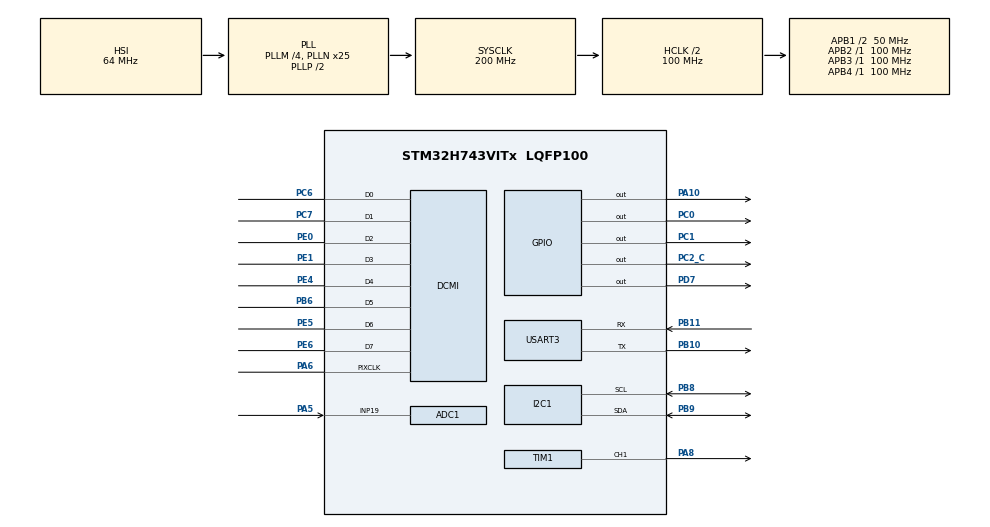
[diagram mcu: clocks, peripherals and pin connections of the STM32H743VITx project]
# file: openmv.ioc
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ADC1.Channel-5\#ChannelRegularConversion=ADC_CHANNEL_19
ADC1.NbrOfConversionFlag=1
ADC1.OffsetNumber-5\#ChannelRegularConversion=ADC_OFFSET_NONE
ADC1.OffsetSignedSaturation-5\#ChannelRegularConversion=DISABLE
ADC1.Rank-5\#ChannelRegularConversion=1
ADC1.SamplingTime-5\#ChannelRegularConversion=ADC_SAMPLETIME_1CYCLE_5
ADC1.master=1
ADC3.Channel-0\#ChannelRegularConversion=ADC_CHANNEL_VREFINT
ADC3.NbrOfConversionFlag=1
ADC3.OffsetNumber-0\#ChannelRegularConversion=ADC_OFFSET_NONE
ADC3.OffsetSignedSaturation-0\#ChannelRegularConversion=DISABLE
ADC3.Rank-0\#ChannelRegularConversion=1
ADC3.SamplingTime-0\#ChannelRegularConversion=ADC_SAMPLETIME_1CYCLE_5
DCMI.JPEGMode=DCMI_JPEG_DISABLE
Dma.DCMI.0.Direction=DMA_PERIPH_TO_MEMORY
Dma.DCMI.0.EventEnable=DISABLE
Dma.DCMI.0.FIFOMode=DMA_FIFOMODE_DISABLE
Dma.DCMI.0.Instance=DMA2_Stream1
Dma.DCMI.0.MemDataAlignment=DMA_MDATAALIGN_WORD
Dma.DCMI.0.MemInc=DMA_MINC_ENABLE
Dma.DCMI.0.Mode=DMA_NORMAL
Dma.DCMI.0.PeriphDataAlignment=DMA_PDATAALIGN_WORD
Dma.DCMI.0.PeriphInc=DMA_PINC_DISABLE
Dma.DCMI.0.Polarity=HAL_DMAMUX_REQ_GEN_RISING
Dma.DCMI.0.Priority=DMA_PRIORITY_LOW
Dma.DCMI.0.RequestNumber=1
Dma.DCMI.0.SignalID=NONE
Dma.DCMI.0.SyncEnable=DISABLE
Dma.DCMI.0.SyncPolarity=HAL_DMAMUX_SYNC_NO_EVENT
Dma.DCMI.0.SyncRequestNumber=1
Dma.DCMI.0.SyncSignalID=NONE
Dma.Request0=DCMI
I2C1.Timing=0x00C0EAFF
Mcu.Family=STM32H7
Mcu.Name=STM32H743VITx
Mcu.Package=LQFP100
NVIC.DMA2_Stream1_IRQn=true\:0\:0\:false\:false\:true\:false\:true\:true
NVIC.I2C1_ER_IRQn=true\:0\:0\:false\:false\:true\:true\:true\:true
NVIC.I2C1_EV_IRQn=true\:0\:0\:false\:false\:true\:true\:true\:true
NVIC.PriorityGroup=NVIC_PRIORITYGROUP_4
NVIC.RTC_WKUP_IRQn=true\:0\:0\:false\:false\:true\:true\:true\:true
NVIC.TIM3_IRQn=true\:0\:0\:false\:false\:true\:true\:true\:true
PA10.PinState=GPIO_PIN_SET
PA10.Signal=GPIO_Output
PA4.Signal=DCMI_HSYNC
PA5.Signal=ADCx_INP19
PA6.Mode=Slave_8_bits_Embedded_Synchro
PA6.Signal=DCMI_PIXCLK
PA8.Signal=S_TIM1_CH1
PB10.Mode=Asynchronous
PB10.Signal=USART3_TX
PB11.Mode=Asynchronous
PB11.Signal=USART3_RX
PB6.Mode=Slave_8_bits_Embedded_Synchro
PB6.Signal=DCMI_D5
PB7.Signal=DCMI_VSYNC
PB8.GPIO_Pu=GPIO_PULLUP
PB8.Mode=I2C
PB8.Signal=I2C1_SCL
PB9.GPIO_Pu=GPIO_PULLUP
PB9.Mode=I2C
PB9.Signal=I2C1_SDA
PC0.PinState=GPIO_PIN_SET
PC0.Signal=GPIO_Output
PC1.PinState=GPIO_PIN_SET
PC1.Signal=GPIO_Output
PC2_C.PinState=GPIO_PIN_SET
PC2_C.Signal=GPIO_Output
PC6.Mode=Slave_8_bits_Embedded_Synchro
PC6.Signal=DCMI_D0
PC7.Mode=Slave_8_bits_Embedded_Synchro
PC7.Signal=DCMI_D1
PD7.PinState=GPIO_PIN_SET
PD7.Signal=GPIO_Output
PE0.Mode=Slave_8_bits_Embedded_Synchro
PE0.Signal=DCMI_D2
PE1.Mode=Slave_8_bits_Embedded_Synchro
PE1.Signal=DCMI_D3
PE4.Mode=Slave_8_bits_Embedded_Synchro
PE4.Signal=DCMI_D4
PE5.Mode=Slave_8_bits_Embedded_Synchro
PE5.Signal=DCMI_D6
PE6.Mode=Slave_8_bits_Embedded_Synchro
PE6.Signal=DCMI_D7
ProjectManager.HeapSize=0x200
ProjectManager.StackSize=0x400
ProjectManager.TargetToolchain=STM32CubeIDE
RCC.ADCFreq_Value=37500000
RCC.APB1Freq_Value=50000000
RCC.APB2Freq_Value=100000000
RCC.APB3Freq_Value=100000000
RCC.APB4Freq_Value=100000000
RCC.CortexFreq_Value=200000000
RCC.D2PPRE1=RCC_APB1_DIV2
RCC.DIVM1=4
RCC.DIVM2=4
RCC.DIVN1=25
RCC.DIVN2=9
RCC.DIVP2=4
RCC.HCLKFreq_Value=100000000
RCC.HPRE=RCC_HCLK_DIV2
RCC.PLL2FRACN=3072
RCC.PLLFRACN=0
RCC.SYSCLKFreq_VALUE=200000000
RCC.SYSCLKSource=RCC_SYSCLKSOURCE_PLLCLK
RCC.USBFreq_Value=200000000
RTC.WakeUpCounter-WakeUp=3276
SH.ADCx_INP19.0=ADC1_INP19,IN19-Single-Ended
SH.S_TIM1_CH1.0=TIM1_CH1,PWM Generation1 CH1
TIM1.Channel-PWM\ Generation1\ CH1=TIM_CHANNEL_1
TIM1.Period=5
TIM1.Pulse-PWM\ Generation1\ CH1=2
TIM3.Period=10000
USART3.VirtualMode-Asynchronous=VM_ASYNC
VP_ADC3_Vref_Input.Mode=IN-Vrefint
VP_FATFS_VS_Generic.Mode=User_defined
VP_RTC_VS_RTC_Activate.Mode=RTC_Enabled
VP_RTC_VS_RTC_WakeUp_intern.Mode=WakeUp
VP_TIM1_VS_ClockSourceINT.Mode=Internal
VP_TIM3_VS_ClockSourceINT.Mode=Internal
board=custom

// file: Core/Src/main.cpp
/* USER CODE BEGIN Header */
/**
  ******************************************************************************
  * @file           : main.c
  * @brief          : Main program body
  ******************************************************************************
  * @attention
  *
  * Copyright (c) 2023 STMicroelectronics.
  * All rights reserved.
  *
  * This software is licensed under terms that can be found in the LICENSE file
  * in the root directory of this software component.
  * If no LICENSE file comes with this software, it is provided AS-IS.
  *
  ******************************************************************************
  */
/* USER CODE END Header */
#include "main.h"
#include "fatfs.h"

/* USER CODE BEGIN Includes */
#include "stdio.h"
#include "tensorflow/lite/micro/kernels/all_ops_resolver.h"
#include "tensorflow/lite/micro/micro_error_reporter.h"
#include "tensorflow/lite/micro/micro_interpreter.h"
#include "tensorflow/lite/schema/schema_generated.h"
#include "tensorflow/lite/version.h"
#include "./TF/main_functions1.h"
#include "./TF/main_functions2.h"
// pre-build steps: arm-none-eabi-gcc -P -E ../STM32H743VITX_FLASH.c -o ../GENERATED.ld
// link script: ${workspace_loc:/${ProjName}/GENERATED.ld}
/* USER CODE END Includes */

/* USER CODE BEGIN PD */
//#define VREFINT_CAL_ADDR 0x1FF1E860
#define ADDR_VREFINT_CAL ((uint16_t*) VREFINT_CAL_ADDR)
/* USER CODE END PD */

ADC_HandleTypeDef hadc1;
ADC_HandleTypeDef hadc3;

DCMI_HandleTypeDef hdcmi;
DMA_HandleTypeDef hdma_dcmi;

I2C_HandleTypeDef hi2c1;

RTC_HandleTypeDef hrtc;

TIM_HandleTypeDef htim1;
TIM_HandleTypeDef htim3;

UART_HandleTypeDef huart3;

/* USER CODE BEGIN PV */
__IO uint16_t uhADCxConvertedValue = 0;
uint16_t ADC_max_binary = ((1<<16)-1);
float ADC_ref_voltage = 3.3;
float ADC_sys_voltage = 0.0;
RTC_HandleTypeDef RTCHandle;
/* USER CODE END PV */

void SystemClock_Config(void);
void PeriphCommonClock_Config(void);
static void MX_GPIO_Init(void);
static void MX_DMA_Init(void);
static void MX_TIM3_Init(void);
static void MX_RTC_Init(void);
static void MX_ADC3_Init(void);
static void MX_DCMI_Init(void);
static void MX_I2C1_Init(void);
static void MX_ADC1_Init(void);
static void MX_USART3_UART_Init(void);
static void MX_TIM1_Init(void);
/* USER CODE BEGIN PFP */
void stop_mode1(void);
void stop_mode2(void);

#ifdef __cplusplus
extern "C" {
#endif
extern int sensor_init(void);
#ifdef __cplusplus
}
#endif
/* USER CODE END PFP */

/* USER CODE BEGIN 0 */
/**
  * @brief  CPU L1-Cache enable.
  * @param  None
  * @retval None
  */
static void CPU_CACHE_Enable(void)
{
  /* Enable I-Cache */
  SCB_EnableICache();

  /* Enable D-Cache */
  SCB_EnableDCache();
}
/* USER CODE END 0 */

int main(void)
{
  /* USER CODE BEGIN 1 */

  /* Enable the CPU Cache */
  CPU_CACHE_Enable();
  /* USER CODE END 1 */

  /* MCU Configuration--------------------------------------------------------*/

  /* Reset of all peripherals, Initializes the Flash interface and the Systick. */
  HAL_Init();

  /* Configure the system clock */
  SystemClock_Config();

  /* Configure the peripherals common clocks */
  PeriphCommonClock_Config();

  /* Initialize all configured peripherals */
  MX_GPIO_Init();
  MX_DMA_Init();
  MX_TIM3_Init();
  MX_RTC_Init();
  MX_ADC3_Init();
  MX_DCMI_Init();
  MX_I2C1_Init();
  MX_ADC1_Init();
  MX_USART3_UART_Init();
  MX_FATFS_Init();
  MX_TIM1_Init();
  /* USER CODE BEGIN 2 */
//  stop_mode1();
//  stop_mode2();

//  printf("start OV init\r\n");
//  fb_alloc_init0();
//  framebuffer_init0();
//  sensor_init0();
//  dma_alloc_init0();

//  int ret = sensor_init();
//  printf("finished OV init, return=%d\r\n", ret);

  float target_voltage = 3.9;
  float sys_vol;
  stop_mode2_duration(200);
  sys_vol = adc_ref_internal_read();
  stop_mode2_duration(200);
  sys_vol = adc_ref_internal_read();
  if (sys_vol < target_voltage)
  {
	printf("System start FAILED, voltage=%.2f, target=%.2f, going to deep sleep\r\n", sys_vol, target_voltage);
	// will restart after this sleep
	stop_mode1_duration(60000);
  }

  // NN
  setup1();

  /* USER CODE END 2 */

  /* Infinite loop */
  /* USER CODE BEGIN WHILE */
  uint32_t  start1;
  uint32_t  stop1;
  uint32_t  delta1;

  int sample_idx = 3;
  while (1)
  {
//  start = DWT->CYCCNT;
	start1 = HAL_GetTick();
// Code to measure
//	main_loop1();
//  main_loop2();

	sample_idx = 2;
	main_single_event(sample_idx, 0.0);
//	sample_idx += 1;
//	sample_idx %= 4;
//	if (sample_idx == 0)
//	{
//		sample_idx = 3;
//	}

//  stop = DWT->CYCCNT;
	stop1 = HAL_GetTick();
//	delta = stop - start;
	delta1 = stop1 - start1;
//	d_ms = delta / (SYSCLK / 1000);

//	fprintf(stderr, "start: %ld, end: %ld, delta: %ld, d_ms: %ld, delta1 %ld (ms)\r\n", start, stop, delta, d_ms, delta1);
//	fprintf(stderr, "delta1 %ld (ms)\r\n", delta1);
	fprintf(stderr, "\r\n");

//	HAL_Delay(10000);
//	stop_mode1();
	stop_mode2();
    /* USER CODE END WHILE */

  }
}

void SystemClock_Config(void)
{
  RCC_OscInitTypeDef RCC_OscInitStruct = {0};
  RCC_ClkInitTypeDef RCC_ClkInitStruct = {0};

  /** Supply configuration update enable
  */
  HAL_PWREx_ConfigSupply(PWR_LDO_SUPPLY);

  /** Configure the main internal regulator output voltage
  */
  __HAL_PWR_VOLTAGESCALING_CONFIG(PWR_REGULATOR_VOLTAGE_SCALE3);

  while(!__HAL_PWR_GET_FLAG(PWR_FLAG_VOSRDY)) {}

  /** Macro to configure the PLL clock source
  */
  __HAL_RCC_PLL_PLLSOURCE_CONFIG(RCC_PLLSOURCE_HSI);

  /** Initializes the RCC Oscillators according to the specified parameters
  * in the RCC_OscInitTypeDef structure.
  */
  RCC_OscInitStruct.OscillatorType = RCC_OSCILLATORTYPE_HSI|RCC_OSCILLATORTYPE_LSI;
  RCC_OscInitStruct.HSIState = RCC_HSI_DIV1;
  RCC_OscInitStruct.HSICalibrationValue = RCC_HSICALIBRATION_DEFAULT;
  RCC_OscInitStruct.LSIState = RCC_LSI_ON;
  RCC_OscInitStruct.PLL.PLLState = RCC_PLL_ON;
  RCC_OscInitStruct.PLL.PLLSource = RCC_PLLSOURCE_HSI;
  RCC_OscInitStruct.PLL.PLLM = 4;
  RCC_OscInitStruct.PLL.PLLN = 25;
  RCC_OscInitStruct.PLL.PLLP = 2;
  RCC_OscInitStruct.PLL.PLLQ = 2;
  RCC_OscInitStruct.PLL.PLLR = 2;
  RCC_OscInitStruct.PLL.PLLRGE = RCC_PLL1VCIRANGE_3;
  RCC_OscInitStruct.PLL.PLLVCOSEL = RCC_PLL1VCOWIDE;
  RCC_OscInitStruct.PLL.PLLFRACN = 0;
  if (HAL_RCC_OscConfig(&RCC_OscInitStruct) != HAL_OK)
  {
    Error_Handler();
  }

  /** Initializes the CPU, AHB and APB buses clocks
  */
  RCC_ClkInitStruct.ClockType = RCC_CLOCKTYPE_HCLK|RCC_CLOCKTYPE_SYSCLK
                              |RCC_CLOCKTYPE_PCLK1|RCC_CLOCKTYPE_PCLK2
                              |RCC_CLOCKTYPE_D3PCLK1|RCC_CLOCKTYPE_D1PCLK1;
  RCC_ClkInitStruct.SYSCLKSource = RCC_SYSCLKSOURCE_PLLCLK;
  RCC_ClkInitStruct.SYSCLKDivider = RCC_SYSCLK_DIV1;
  RCC_ClkInitStruct.AHBCLKDivider = RCC_HCLK_DIV2;
  RCC_ClkInitStruct.APB3CLKDivider = RCC_APB3_DIV1;
  RCC_ClkInitStruct.APB1CLKDivider = RCC_APB1_DIV2;
  RCC_ClkInitStruct.APB2CLKDivider = RCC_APB2_DIV1;
  RCC_ClkInitStruct.APB4CLKDivider = RCC_APB4_DIV1;

  if (HAL_RCC_ClockConfig(&RCC_ClkInitStruct, FLASH_LATENCY_2) != HAL_OK)
  {
    Error_Handler();
  }
}

void PeriphCommonClock_Config(void)
{
  RCC_PeriphCLKInitTypeDef PeriphClkInitStruct = {0};

  /** Initializes the peripherals clock
  */
  PeriphClkInitStruct.PeriphClockSelection = RCC_PERIPHCLK_ADC;
  PeriphClkInitStruct.PLL2.PLL2M = 4;
  PeriphClkInitStruct.PLL2.PLL2N = 9;
  PeriphClkInitStruct.PLL2.PLL2P = 4;
  PeriphClkInitStruct.PLL2.PLL2Q = 2;
  PeriphClkInitStruct.PLL2.PLL2R = 2;
  PeriphClkInitStruct.PLL2.PLL2RGE = RCC_PLL2VCIRANGE_3;
  PeriphClkInitStruct.PLL2.PLL2VCOSEL = RCC_PLL2VCOMEDIUM;
  PeriphClkInitStruct.PLL2.PLL2FRACN = 3072;
  PeriphClkInitStruct.AdcClockSelection = RCC_ADCCLKSOURCE_PLL2;
  if (HAL_RCCEx_PeriphCLKConfig(&PeriphClkInitStruct) != HAL_OK)
  {
    Error_Handler();
  }
}

static void MX_ADC1_Init(void)
{

  ADC_MultiModeTypeDef multimode = {0};
  ADC_ChannelConfTypeDef sConfig = {0};

  /** Common config
  */
  hadc1.Instance = ADC1;
  hadc1.Init.ClockPrescaler = ADC_CLOCK_ASYNC_DIV1;
  hadc1.Init.Resolution = ADC_RESOLUTION_16B;
  hadc1.Init.ScanConvMode = ADC_SCAN_DISABLE;
  hadc1.Init.EOCSelection = ADC_EOC_SINGLE_CONV;
  hadc1.Init.LowPowerAutoWait = DISABLE;
  hadc1.Init.ContinuousConvMode = DISABLE;
  hadc1.Init.NbrOfConversion = 1;
  hadc1.Init.DiscontinuousConvMode = DISABLE;
  hadc1.Init.ExternalTrigConv = ADC_SOFTWARE_START;
  hadc1.Init.ExternalTrigConvEdge = ADC_EXTERNALTRIGCONVEDGE_NONE;
  hadc1.Init.ConversionDataManagement = ADC_CONVERSIONDATA_DR;
  hadc1.Init.Overrun = ADC_OVR_DATA_PRESERVED;
  hadc1.Init.LeftBitShift = ADC_LEFTBITSHIFT_NONE;
  hadc1.Init.OversamplingMode = DISABLE;
  if (HAL_ADC_Init(&hadc1) != HAL_OK)
  {
    Error_Handler();
  }

  /** Configure the ADC multi-mode
  */
  multimode.Mode = ADC_MODE_INDEPENDENT;
  if (HAL_ADCEx_MultiModeConfigChannel(&hadc1, &multimode) != HAL_OK)
  {
    Error_Handler();
  }

  /** Configure Regular Channel
  */
  sConfig.Channel = ADC_CHANNEL_19;
  sConfig.Rank = ADC_REGULAR_RANK_1;
  sConfig.SamplingTime = ADC_SAMPLETIME_1CYCLE_5;
  sConfig.SingleDiff = ADC_SINGLE_ENDED;
  sConfig.OffsetNumber = ADC_OFFSET_NONE;
  sConfig.Offset = 0;
  sConfig.OffsetSignedSaturation = DISABLE;
  if (HAL_ADC_ConfigChannel(&hadc1, &sConfig) != HAL_OK)
  {
    Error_Handler();
  }
  /* USER CODE BEGIN ADC1_Init 2 */
  /* Run the ADC calibration in single-ended mode */
  if (HAL_ADCEx_Calibration_Start(&hadc1, ADC_CALIB_OFFSET_LINEARITY, ADC_SINGLE_ENDED) != HAL_OK)
  {
    /* Calibration Error */
    Error_Handler();
  }

//  while (1)
//  {
//	  adc_read();
//  }
  /* USER CODE END ADC1_Init 2 */

}

static void MX_ADC3_Init(void)
{

  ADC_ChannelConfTypeDef sConfig = {0};

  /** Common config
  */
  hadc3.Instance = ADC3;
  hadc3.Init.Resolution = ADC_RESOLUTION_16B;
  hadc3.Init.ScanConvMode = ADC_SCAN_DISABLE;
  hadc3.Init.EOCSelection = ADC_EOC_SINGLE_CONV;
  hadc3.Init.LowPowerAutoWait = DISABLE;
  hadc3.Init.ContinuousConvMode = DISABLE;
  hadc3.Init.NbrOfConversion = 1;
  hadc3.Init.DiscontinuousConvMode = DISABLE;
  hadc3.Init.ExternalTrigConv = ADC_SOFTWARE_START;
  hadc3.Init.ExternalTrigConvEdge = ADC_EXTERNALTRIGCONVEDGE_NONE;
  hadc3.Init.ConversionDataManagement = ADC_CONVERSIONDATA_DR;
  hadc3.Init.Overrun = ADC_OVR_DATA_PRESERVED;
  hadc3.Init.LeftBitShift = ADC_LEFTBITSHIFT_NONE;
  hadc3.Init.OversamplingMode = DISABLE;
  if (HAL_ADC_Init(&hadc3) != HAL_OK)
  {
    Error_Handler();
  }

  /** Configure Regular Channel
  */
  sConfig.Channel = ADC_CHANNEL_VREFINT;
  sConfig.Rank = ADC_REGULAR_RANK_1;
  sConfig.SamplingTime = ADC_SAMPLETIME_1CYCLE_5;
  sConfig.SingleDiff = ADC_SINGLE_ENDED;
  sConfig.OffsetNumber = ADC_OFFSET_NONE;
  sConfig.Offset = 0;
  sConfig.OffsetSignedSaturation = DISABLE;
  if (HAL_ADC_ConfigChannel(&hadc3, &sConfig) != HAL_OK)
  {
    Error_Handler();
  }
  /* USER CODE BEGIN ADC3_Init 2 */
  /* ### - 4 - Start conversion ############################################# */
  if (HAL_ADC_Start(&hadc3) != HAL_OK)
  {
    Error_Handler();
  }

  /* Infinite Loop */

  /* USER CODE END ADC3_Init 2 */

}

static void MX_DCMI_Init(void)
{

  hdcmi.Instance = DCMI;
  hdcmi.Init.SynchroMode = DCMI_SYNCHRO_EMBEDDED;
  hdcmi.Init.PCKPolarity = DCMI_PCKPOLARITY_FALLING;
  hdcmi.Init.CaptureRate = DCMI_CR_ALL_FRAME;
  hdcmi.Init.ExtendedDataMode = DCMI_EXTEND_DATA_8B;
  hdcmi.Init.SyncroCode.FrameEndCode = 0;
  hdcmi.Init.SyncroCode.FrameStartCode = 0;
  hdcmi.Init.SyncroCode.LineStartCode = 0;
  hdcmi.Init.SyncroCode.LineEndCode = 0;
  hdcmi.Init.JPEGMode = DCMI_JPEG_DISABLE;
  hdcmi.Init.ByteSelectMode = DCMI_BSM_ALL;
  hdcmi.Init.ByteSelectStart = DCMI_OEBS_ODD;
  hdcmi.Init.LineSelectMode = DCMI_LSM_ALL;
  hdcmi.Init.LineSelectStart = DCMI_OELS_ODD;
  if (HAL_DCMI_Init(&hdcmi) != HAL_OK)
  {
    Error_Handler();
  }

}

static void MX_I2C1_Init(void)
{

  hi2c1.Instance = I2C1;
  hi2c1.Init.Timing = 0x00C0EAFF;
  hi2c1.Init.OwnAddress1 = 0;
  hi2c1.Init.AddressingMode = I2C_ADDRESSINGMODE_7BIT;
  hi2c1.Init.DualAddressMode = I2C_DUALADDRESS_DISABLE;
  hi2c1.Init.OwnAddress2 = 0;
  hi2c1.Init.OwnAddress2Masks = I2C_OA2_NOMASK;
  hi2c1.Init.GeneralCallMode = I2C_GENERALCALL_DISABLE;
  hi2c1.Init.NoStretchMode = I2C_NOSTRETCH_DISABLE;
  if (HAL_I2C_Init(&hi2c1) != HAL_OK)
  {
    Error_Handler();
  }

  /** Configure Analogue filter
  */
  if (HAL_I2CEx_ConfigAnalogFilter(&hi2c1, I2C_ANALOGFILTER_ENABLE) != HAL_OK)
  {
    Error_Handler();
  }

  /** Configure Digital filter
  */
  if (HAL_I2CEx_ConfigDigitalFilter(&hi2c1, 0) != HAL_OK)
  {
    Error_Handler();
  }

}

static void MX_RTC_Init(void)
{

  /** Initialize RTC Only
  */
  hrtc.Instance = RTC;
  hrtc.Init.HourFormat = RTC_HOURFORMAT_24;
  hrtc.Init.AsynchPrediv = 127;
  hrtc.Init.SynchPrediv = 255;
  hrtc.Init.OutPut = RTC_OUTPUT_DISABLE;
  hrtc.Init.OutPutPolarity = RTC_OUTPUT_POLARITY_HIGH;
  hrtc.Init.OutPutType = RTC_OUTPUT_TYPE_OPENDRAIN;
  hrtc.Init.OutPutRemap = RTC_OUTPUT_REMAP_NONE;
  if (HAL_RTC_Init(&hrtc) != HAL_OK)
  {
    Error_Handler();
  }

  /** Enable the WakeUp
  */
  if (HAL_RTCEx_SetWakeUpTimer_IT(&hrtc, 3276, RTC_WAKEUPCLOCK_RTCCLK_DIV16) != HAL_OK)
  {
    Error_Handler();
  }

}

static void MX_TIM1_Init(void)
{

  TIM_ClockConfigTypeDef sClockSourceConfig = {0};
  TIM_MasterConfigTypeDef sMasterConfig = {0};
  TIM_OC_InitTypeDef sConfigOC = {0};
  TIM_BreakDeadTimeConfigTypeDef sBreakDeadTimeConfig = {0};

  htim1.Instance = TIM1;
  htim1.Init.Prescaler = 0;
  htim1.Init.CounterMode = TIM_COUNTERMODE_UP;
  htim1.Init.Period = 5;
  htim1.Init.ClockDivision = TIM_CLOCKDIVISION_DIV1;
  htim1.Init.RepetitionCounter = 0;
  htim1.Init.AutoReloadPreload = TIM_AUTORELOAD_PRELOAD_DISABLE;
  if (HAL_TIM_Base_Init(&htim1) != HAL_OK)
  {
    Error_Handler();
  }
  sClockSourceConfig.ClockSource = TIM_CLOCKSOURCE_INTERNAL;
  if (HAL_TIM_ConfigClockSource(&htim1, &sClockSourceConfig) != HAL_OK)
  {
    Error_Handler();
  }
  if (HAL_TIM_PWM_Init(&htim1) != HAL_OK)
  {
    Error_Handler();
  }
  sMasterConfig.MasterOutputTrigger = TIM_TRGO_RESET;
  sMasterConfig.MasterOutputTrigger2 = TIM_TRGO2_RESET;
  sMasterConfig.MasterSlaveMode = TIM_MASTERSLAVEMODE_DISABLE;
  if (HAL_TIMEx_MasterConfigSynchronization(&htim1, &sMasterConfig) != HAL_OK)
  {
    Error_Handler();
  }
  sConfigOC.OCMode = TIM_OCMODE_PWM1;
  sConfigOC.Pulse = 2;
  sConfigOC.OCPolarity = TIM_OCPOLARITY_HIGH;
  sConfigOC.OCNPolarity = TIM_OCNPOLARITY_HIGH;
  sConfigOC.OCFastMode = TIM_OCFAST_DISABLE;
  sConfigOC.OCIdleState = TIM_OCIDLESTATE_RESET;
  sConfigOC.OCNIdleState = TIM_OCNIDLESTATE_RESET;
  if (HAL_TIM_PWM_ConfigChannel(&htim1, &sConfigOC, TIM_CHANNEL_1) != HAL_OK)
  {
    Error_Handler();
  }
  sBreakDeadTimeConfig.OffStateRunMode = TIM_OSSR_DISABLE;
  sBreakDeadTimeConfig.OffStateIDLEMode = TIM_OSSI_DISABLE;
  sBreakDeadTimeConfig.LockLevel = TIM_LOCKLEVEL_OFF;
  sBreakDeadTimeConfig.DeadTime = 0;
  sBreakDeadTimeConfig.BreakState = TIM_BREAK_DISABLE;
  sBreakDeadTimeConfig.BreakPolarity = TIM_BREAKPOLARITY_HIGH;
  sBreakDeadTimeConfig.BreakFilter = 0;
  sBreakDeadTimeConfig.Break2State = TIM_BREAK2_DISABLE;
  sBreakDeadTimeConfig.Break2Polarity = TIM_BREAK2POLARITY_HIGH;
  sBreakDeadTimeConfig.Break2Filter = 0;
  sBreakDeadTimeConfig.AutomaticOutput = TIM_AUTOMATICOUTPUT_DISABLE;
  if (HAL_TIMEx_ConfigBreakDeadTime(&htim1, &sBreakDeadTimeConfig) != HAL_OK)
  {
    Error_Handler();
  }
  HAL_TIM_MspPostInit(&htim1);

}

static void MX_TIM3_Init(void)
{

  TIM_ClockConfigTypeDef sClockSourceConfig = {0};
  TIM_MasterConfigTypeDef sMasterConfig = {0};

  htim3.Instance = TIM3;
  htim3.Init.Prescaler = 0;
  htim3.Init.CounterMode = TIM_COUNTERMODE_UP;
  htim3.Init.Period = 10000;
  htim3.Init.ClockDivision = TIM_CLOCKDIVISION_DIV1;
  htim3.Init.AutoReloadPreload = TIM_AUTORELOAD_PRELOAD_DISABLE;
  if (HAL_TIM_Base_Init(&htim3) != HAL_OK)
  {
    Error_Handler();
  }
  sClockSourceConfig.ClockSource = TIM_CLOCKSOURCE_INTERNAL;
  if (HAL_TIM_ConfigClockSource(&htim3, &sClockSourceConfig) != HAL_OK)
  {
    Error_Handler();
  }
  sMasterConfig.MasterOutputTrigger = TIM_TRGO_RESET;
  sMasterConfig.MasterSlaveMode = TIM_MASTERSLAVEMODE_DISABLE;
  if (HAL_TIMEx_MasterConfigSynchronization(&htim3, &sMasterConfig) != HAL_OK)
  {
    Error_Handler();
  }

}

static void MX_USART3_UART_Init(void)
{

  huart3.Instance = USART3;
  huart3.Init.BaudRate = 115200;
  huart3.Init.WordLength = UART_WORDLENGTH_8B;
  huart3.Init.StopBits = UART_STOPBITS_1;
  huart3.Init.Parity = UART_PARITY_NONE;
  huart3.Init.Mode = UART_MODE_TX_RX;
  huart3.Init.HwFlowCtl = UART_HWCONTROL_NONE;
  huart3.Init.OverSampling = UART_OVERSAMPLING_16;
  huart3.Init.OneBitSampling = UART_ONE_BIT_SAMPLE_DISABLE;
  huart3.Init.ClockPrescaler = UART_PRESCALER_DIV1;
  huart3.AdvancedInit.AdvFeatureInit = UART_ADVFEATURE_NO_INIT;
  if (HAL_UART_Init(&huart3) != HAL_OK)
  {
    Error_Handler();
  }
  if (HAL_UARTEx_SetTxFifoThreshold(&huart3, UART_TXFIFO_THRESHOLD_1_8) != HAL_OK)
  {
    Error_Handler();
  }
  if (HAL_UARTEx_SetRxFifoThreshold(&huart3, UART_RXFIFO_THRESHOLD_1_8) != HAL_OK)
  {
    Error_Handler();
  }
  if (HAL_UARTEx_DisableFifoMode(&huart3) != HAL_OK)
  {
    Error_Handler();
  }
  /* USER CODE BEGIN USART3_Init 2 */
  /*##-2- Start the transmission process #####################################*/
  /* While the UART in reception process, user can transmit data through
     "aTxBuffer" buffer */
  /* Buffer used for transmission */
  uint8_t aTxBuffer[] = "**** UART_TwoBoards_ComPolling ****\r\n";

  /* Buffer used for reception */
//  uint8_t aRxBuffer[RXBUFFERSIZE];
//  while (1)
  {
//	  if(HAL_UART_Transmit(&huart3, (uint8_t*)aTxBuffer, sizeof(aTxBuffer), 5000)!= HAL_OK)
//	  {
//	    Error_Handler();
//	  }
//	  printf("123 %f\r\n", 4.56);
	  printf("USART init\r\n");
//	  HAL_Delay(1000);
  }

  /*##-3- Put UART peripheral in reception process ###########################*/
//  if(HAL_UART_Receive(&huart3, (uint8_t *)aRxBuffer, RXBUFFERSIZE, 5000) != HAL_OK)
//  {
//    Error_Handler();
//  }
  /* USER CODE END USART3_Init 2 */

}

static void MX_DMA_Init(void)
{

  /* DMA controller clock enable */
  __HAL_RCC_DMA2_CLK_ENABLE();

  /* DMA interrupt init */
  /* DMA2_Stream1_IRQn interrupt configuration */
  HAL_NVIC_SetPriority(DMA2_Stream1_IRQn, 0, 0);
  HAL_NVIC_EnableIRQ(DMA2_Stream1_IRQn);

}

static void MX_GPIO_Init(void)
{
  GPIO_InitTypeDef GPIO_InitStruct = {0};

  /* GPIO Ports Clock Enable */
  __HAL_RCC_GPIOE_CLK_ENABLE();
  __HAL_RCC_GPIOC_CLK_ENABLE();
  __HAL_RCC_GPIOA_CLK_ENABLE();
  __HAL_RCC_GPIOB_CLK_ENABLE();
  __HAL_RCC_GPIOD_CLK_ENABLE();

  /*Configure GPIO pin Output Level */
  HAL_GPIO_WritePin(GPIOC, GPIO_PIN_0|GPIO_PIN_1|GPIO_PIN_2, GPIO_PIN_SET);

  /*Configure GPIO pin Output Level */
  HAL_GPIO_WritePin(GPIOA, GPIO_PIN_10, GPIO_PIN_SET);

  /*Configure GPIO pin Output Level */
  HAL_GPIO_WritePin(GPIOD, GPIO_PIN_7, GPIO_PIN_SET);

  /*Configure GPIO pins : PC0 PC1 PC2 */
  GPIO_InitStruct.Pin = GPIO_PIN_0|GPIO_PIN_1|GPIO_PIN_2;
  GPIO_InitStruct.Mode = GPIO_MODE_OUTPUT_PP;
  GPIO_InitStruct.Pull = GPIO_NOPULL;
  GPIO_InitStruct.Speed = GPIO_SPEED_FREQ_LOW;
  HAL_GPIO_Init(GPIOC, &GPIO_InitStruct);

  /*Configure GPIO pin : PA10 */
  GPIO_InitStruct.Pin = GPIO_PIN_10;
  GPIO_InitStruct.Mode = GPIO_MODE_OUTPUT_PP;
  GPIO_InitStruct.Pull = GPIO_NOPULL;
  GPIO_InitStruct.Speed = GPIO_SPEED_FREQ_LOW;
  HAL_GPIO_Init(GPIOA, &GPIO_InitStruct);

  /*Configure GPIO pin : PD7 */
  GPIO_InitStruct.Pin = GPIO_PIN_7;
  GPIO_InitStruct.Mode = GPIO_MODE_OUTPUT_PP;
  GPIO_InitStruct.Pull = GPIO_NOPULL;
  GPIO_InitStruct.Speed = GPIO_SPEED_FREQ_LOW;
  HAL_GPIO_Init(GPIOD, &GPIO_InitStruct);

}

/* USER CODE BEGIN 4 */
void adc_read(void)
{
	/*##-3- Start the conversion process #######################################*/
	if (HAL_ADC_Start(&hadc1) != HAL_OK)
	{
		/* Start Conversation Error */
		Error_Handler();
	}

	/*##-4- Wait for the end of conversion #####################################*/
	/*  For simplicity reasons, this example is just waiting till the end of the
conversion, but application may perform other tasks while conversion
operation is ongoing. */
	if (HAL_ADC_PollForConversion(&hadc1, 10) != HAL_OK)
	{
		/* End Of Conversion flag not set on time */
		Error_Handler();
	}
	else
	{
		/* ADC conversion completed */
		/*##-5- Get the converted value of regular channel  ########################*/
		uhADCxConvertedValue = HAL_ADC_GetValue(&hadc1);
		ADC_sys_voltage = (uhADCxConvertedValue / (float)ADC_max_binary) * ADC_ref_voltage;
	}

	printf("ADC: %d, V: %.4f\r\n", uhADCxConvertedValue, ADC_sys_voltage);
}

float adc_ref_internal_read(void)
{
	uint16_t VREFINT_CAL, VREFINT_DATA;
	VREFINT_CAL = *ADDR_VREFINT_CAL;
	float vref_int_voltage = 0.0;

	/*##-3- Start the conversion process #######################################*/
	if (HAL_ADC_Start(&hadc3) != HAL_OK)
	{
		/* Start Conversation Error */
		Error_Handler();
	}

	/*##-3- Start the conversion process #######################################*/
	if (HAL_ADC_Start(&hadc1) != HAL_OK)
	{
		/* Start Conversation Error */
		Error_Handler();
	}

	/*##-4- Wait for the end of conversion #####################################*/
	/*  For simplicity reasons, this example is just waiting till the end of the
conversion, but application may perform other tasks while conversion
operation is ongoing. */
	if (HAL_ADC_PollForConversion(&hadc3, 10) != HAL_OK)
	{
		/* End Of Conversion flag not set on time */
		Error_Handler();
	}
	else
	{
		/* Read the converted value */
		VREFINT_DATA = HAL_ADC_GetValue(&hadc3);

		/* Convert the result from 16 bit value to the voltage dimension (mV unit) */
		/* Vref = 3.3 V */
//		uwInputVoltage = (uwConvertedValue * 3300) / 0xFFFF;
		vref_int_voltage = (VREFINT_DATA / (float)ADC_max_binary) * ADC_ref_voltage;
	}

	// measure channel voltage

	/*##-4- Wait for the end of conversion #####################################*/
	/*  For simplicity reasons, this example is just waiting till the end of the
	conversion, but application may perform other tasks while conversion
	operation is ongoing. */
	if (HAL_ADC_PollForConversion(&hadc1, 10) != HAL_OK)
	{
		/* End Of Conversion flag not set on time */
		Error_Handler();
	}
	else
	{
		/* ADC conversion completed */
		/*##-5- Get the converted value of regular channel  ########################*/
		uhADCxConvertedValue = HAL_ADC_GetValue(&hadc1);
		ADC_sys_voltage = 3.3f * (float)VREFINT_CAL * uhADCxConvertedValue / ((float)VREFINT_DATA * ADC_max_binary);
		// resistor divide
		ADC_sys_voltage *= 4.0f;
		// compensate
		ADC_sys_voltage *= (5.11/4.01f);
	}

//	printf("VREF ADC: %d, V: %.4f, VREFINT_CAL: %d, ADC: %d, V: %.4f\r\n", VREFINT_DATA, vref_int_voltage, VREFINT_CAL, uhADCxConvertedValue, ADC_sys_voltage);
//	printf("ADC V: %.4f\r\n", ADC_sys_voltage);

	return ADC_sys_voltage;
}

#define D3SRAM_ADDRESS        0x38000000
#define D3SRAM_DATA           0x30313233
#define D3SRAM_ERASE_DATA     0xFFFFFFFF
#define D3SRAM_SIZE           0x4000 /* 16 KB */
#define PWR_WAKEUP_PIN_FLAGS  (PWR_WAKEUP_FLAG1 | PWR_WAKEUP_FLAG2 | PWR_WAKEUP_FLAG3 | \
                               PWR_WAKEUP_FLAG4 | PWR_WAKEUP_FLAG5 | PWR_WAKEUP_FLAG6)
static void SRAM_WriteData()
{
  uint32_t SRAM_Index;

  /* Erase  D3 SRAM */
  for( SRAM_Index = 0; SRAM_Index < D3SRAM_SIZE ; SRAM_Index++)
  {
   *(__IO uint32_t*)(D3SRAM_ADDRESS + (SRAM_Index * 4)) = D3SRAM_ERASE_DATA ;
  }

  /* Fill  D3 SRAM */
  for( SRAM_Index = 0; SRAM_Index < D3SRAM_SIZE ; SRAM_Index++)
  {
   *(__IO uint32_t*)(D3SRAM_ADDRESS + (SRAM_Index * 4)) = D3SRAM_DATA;
  }
}

/**
  * @brief  Check data from D3 SRAM memory
  * @param  None
  * @retval None
  */
static void SRAM_CheckData()
{
  uint32_t SRAM_Index;

  /* Chedk  D3 SRAM data */
  for( SRAM_Index = 0; SRAM_Index < D3SRAM_SIZE ; SRAM_Index++)
  {
    if ( *(__IO uint32_t*)(D3SRAM_ADDRESS + (SRAM_Index * 4)) != D3SRAM_DATA)
    {
      Error_Handler();
    }
  }
}

static void CPU_CACHE_Clean(void)
{
  /* Clean D-Cache */
  SCB_CleanDCache();
}

#define RTC_ASYNCH_PREDIV    0x7F
#define RTC_SYNCH_PREDIV     0x0130
void RTC_Config(void)
{
  /* Configure RTC */
  RTCHandle.Instance = RTC;

  /* Set the RTC time base to 1s */
  /* Configure RTC prescaler and RTC data registers as follow:
    - Hour Format     = Format 24
    - Asynch Prediv   = Value according to source clock
    - Synch Prediv    = Value according to source clock
    - OutPut          = Output Disable
    - OutPutPolarity  = High Polarity
    - OutPutType      = Open Drain */
  RTCHandle.Init.HourFormat = RTC_HOURFORMAT_24;
  RTCHandle.Init.AsynchPrediv = RTC_ASYNCH_PREDIV;
  RTCHandle.Init.SynchPrediv = RTC_SYNCH_PREDIV;
  RTCHandle.Init.OutPut = RTC_OUTPUT_DISABLE;
  RTCHandle.Init.OutPutPolarity = RTC_OUTPUT_POLARITY_HIGH;
  RTCHandle.Init.OutPutType = RTC_OUTPUT_TYPE_OPENDRAIN;
  if(HAL_RTC_Init(&RTCHandle) != HAL_OK)
  {
    /* Initialization Error */
    Error_Handler();
  }
}

void stop_mode1(void)
{
//	HAL_GPIO_WritePin(GPIOC, GPIO_PIN_0, GPIO_PIN_RESET);
//	HAL_Delay(1);
//	HAL_GPIO_WritePin(GPIOC, GPIO_PIN_0, GPIO_PIN_SET);

	/* Check and handle if D1 domain was resumed from StandBy mode */
	if(__HAL_PWR_GET_FLAG(PWR_FLAG_SB_D1) != RESET)
	{
		/* Check D3SRAM data */
		SRAM_CheckData();

		/* Clear Standby flag */
		__HAL_PWR_CLEAR_FLAG(PWR_CPU_FLAGS);
	}

	/* Configure RTC */
	RTC_Config();

	/* Insert 3 seconds delay */
//	HAL_Delay(3000);

	/* The Following Wakeup sequence is highly recommended prior to each Standby mode entry
	mainly  when using more than one wakeup source this is to not miss any wakeup event.
	- Disable all used wakeup sources,
	- Clear all related wakeup flags,
	- Re-enable all used wakeup sources,
	- Enter the Standby mode.
	 */
	/* Disable all used wakeup sources*/
	HAL_RTCEx_DeactivateWakeUpTimer(&RTCHandle);

	/* Clear all related wakeup flags */
	HAL_PWREx_ClearWakeupFlag(PWR_WAKEUP_PIN_FLAGS);

	/* Re-enable all used wakeup sources*/
	/* ## Setting the Wake up time ############################################*/
	/* RTC Wakeup Interrupt Generation:
	the wake-up counter is set to its maximum value to yield the longuest
	stand-by time to let the current reach its lowest operating point.
	The maximum value is 0xFFFF, corresponding to about 33 sec. when
	RTC_WAKEUPCLOCK_RTCCLK_DIV = RTCCLK_Div16 = 16

	Wakeup Time Base = (RTC_WAKEUPCLOCK_RTCCLK_DIV /(LSI))
	Wakeup Time = Wakeup Time Base * WakeUpCounter
	  = (RTC_WAKEUPCLOCK_RTCCLK_DIV /(LSI)) * WakeUpCounter
	  ==> WakeUpCounter = Wakeup Time / Wakeup Time Base

	To configure the wake up timer to 5s the WakeUpCounter is set to 0x2710:
	Wakeup Time Base = 16 /(~32.000KHz) = ~0.5 ms
	Wakeup Time = 0.5 ms  * WakeUpCounter
	Therefore, with wake-up counter =  0x2710  = 10,000
	   Wakeup Time =  0,5 ms *  10,000 = 5 sec. */
	HAL_RTCEx_SetWakeUpTimer_IT(&RTCHandle, 0x2710, RTC_WAKEUPCLOCK_RTCCLK_DIV16);

	if(__HAL_PWR_GET_FLAG(PWR_FLAG_SB_D1) == RESET)
	{
		/* Write D3SRAM data */
		SRAM_WriteData();

		/* Before entering Stanby mode make CPU cache clean operation to ensure that data are written in D3SRAM */
//		CPU_CACHE_Clean();

		/* Check written data */
		SRAM_CheckData();

		/* Set LED1 Off to inform the user that the system will enter STOP mode */
//		BSP_LED_Off(LED1);
		HAL_GPIO_WritePin(GPIOC, GPIO_PIN_0, GPIO_PIN_SET);

		/* Enter D2 Domain to Standby mode */
		HAL_PWREx_EnterSTANDBYMode(PWR_D2_DOMAIN);

		/* Enter D1 to Standby mode. In this case the system will enter STOP mode since D1
	   is in DSTANDBY mode, D2 is in DSTANDBY and D3 is in DSTOP mode */
		HAL_PWREx_EnterSTANDBYMode(PWR_D1_DOMAIN);
	}

	while(1)
	{
		printf("123\r\n");
	}
}

// sleep ms
void stop_mode1_duration(uint32_t ms)
{
	/* Check and handle if D1 domain was resumed from StandBy mode */
	if(__HAL_PWR_GET_FLAG(PWR_FLAG_SB_D1) != RESET)
	{
		/* Check D3SRAM data */
//		SRAM_CheckData();

		/* Clear Standby flag */
		__HAL_PWR_CLEAR_FLAG(PWR_CPU_FLAGS);
	}

	/* Configure RTC */
	RTC_Config();

	/* Insert 3 seconds delay */
//	HAL_Delay(3000);

	/* The Following Wakeup sequence is highly recommended prior to each Standby mode entry
	mainly  when using more than one wakeup source this is to not miss any wakeup event.
	- Disable all used wakeup sources,
	- Clear all related wakeup flags,
	- Re-enable all used wakeup sources,
	- Enter the Standby mode.
	 */
	/* Disable all used wakeup sources*/
	HAL_RTCEx_DeactivateWakeUpTimer(&RTCHandle);

	/* Clear all related wakeup flags */
	HAL_PWREx_ClearWakeupFlag(PWR_WAKEUP_PIN_FLAGS);

	/* Re-enable all used wakeup sources*/
	/* ## Setting the Wake up time ############################################*/
	/* RTC Wakeup Interrupt Generation:
	the wake-up counter is set to its maximum value to yield the longuest
	stand-by time to let the current reach its lowest operating point.
	The maximum value is 0xFFFF, corresponding to about 33 sec. when
	RTC_WAKEUPCLOCK_RTCCLK_DIV = RTCCLK_Div16 = 16

	Wakeup Time Base = (RTC_WAKEUPCLOCK_RTCCLK_DIV /(LSI))
	Wakeup Time = Wakeup Time Base * WakeUpCounter
	  = (RTC_WAKEUPCLOCK_RTCCLK_DIV /(LSI)) * WakeUpCounter
	  ==> WakeUpCounter = Wakeup Time / Wakeup Time Base

	To configure the wake up timer to 5s the WakeUpCounter is set to 0x2710:
	Wakeup Time Base = 16 /(~32.000KHz) = ~0.5 ms
	Wakeup Time = 0.5 ms  * WakeUpCounter
	Therefore, with wake-up counter =  0x2710  = 10,000
	   Wakeup Time =  0,5 ms *  10,000 = 5 sec. */
	uint32_t counts = ms * (0x2710 / 5000);
	HAL_RTCEx_SetWakeUpTimer_IT(&RTCHandle, counts, RTC_WAKEUPCLOCK_RTCCLK_DIV16);

	if(__HAL_PWR_GET_FLAG(PWR_FLAG_SB_D1) == RESET)
	{
		/* Write D3SRAM data */
//		SRAM_WriteData();

		/* Before entering Stanby mode make CPU cache clean operation to ensure that data are written in D3SRAM */
//		CPU_CACHE_Clean();

		/* Check written data */
//		SRAM_CheckData();

		/* Set LED1 Off to inform the user that the system will enter STOP mode */
//		BSP_LED_Off(LED1);
//		HAL_GPIO_WritePin(GPIOC, GPIO_PIN_0, GPIO_PIN_SET);

		/* Enter D2 Domain to Standby mode */
		HAL_PWREx_EnterSTANDBYMode(PWR_D2_DOMAIN);

		/* Enter D1 to Standby mode. In this case the system will enter STOP mode since D1
	   is in DSTANDBY mode, D2 is in DSTANDBY and D3 is in DSTOP mode */
		HAL_PWREx_EnterSTANDBYMode(PWR_D1_DOMAIN);
	}

	while(1)
	{
		printf("123\r\n");
	}
}

void stop_mode2(void)
{
	/* Configure the RTC */
	RTC_Config();

//	while (1)
//	{
		// read ADC voltage
//		adc_ref_internal_read();
		/* Turn LED1 on */
		HAL_GPIO_WritePin(GPIOC, GPIO_PIN_0, GPIO_PIN_RESET);

		/* Insert 5 second delay */
		HAL_Delay(1);

		/* Disable Wakeup Counter */
		HAL_RTCEx_DeactivateWakeUpTimer(&RTCHandle);

		/* ## Setting the Wake up time ############################################*/
		/*  RTC Wakeup Interrupt Generation:
		  Wakeup Time Base = (RTC_WAKEUPCLOCK_RTCCLK_DIV /(LSE or LSI))
		  Wakeup Time = Wakeup Time Base * WakeUpCounter
		  = (RTC_WAKEUPCLOCK_RTCCLK_DIV /(LSE or LSI)) * WakeUpCounter
			==> WakeUpCounter = Wakeup Time / Wakeup Time Base

		  To configure the wake up timer to 20s the WakeUpCounter is set to 0x9C40:
		  RTC_WAKEUPCLOCK_RTCCLK_DIV = RTCCLK_Div16 = 16
		  Wakeup Time Base = 16 /(32.000KHz) = 0,5 ms
		  Wakeup Time = 20s = 0,5ms  * WakeUpCounter
		==> WakeUpCounter = 20s/0,5ms = 40000 = 0x9C40 */
		// 5s
//		HAL_RTCEx_SetWakeUpTimer_IT(&RTCHandle, 0x2710, RTC_WAKEUPCLOCK_RTCCLK_DIV16);
		HAL_RTCEx_SetWakeUpTimer_IT(&RTCHandle, 0x9C40, RTC_WAKEUPCLOCK_RTCCLK_DIV16);

		/* Turn LED1 OFF  */
		HAL_GPIO_WritePin(GPIOC, GPIO_PIN_0, GPIO_PIN_SET);

		/* Enter Stop Mode */
		HAL_PWR_EnterSTOPMode(PWR_LOWPOWERREGULATOR_ON, PWR_STOPENTRY_WFI);
		/* Configures system clock after wake-up from STOP: enable HSE, PLL and select
			PLL as system clock source (HSE and PLL are disabled in STOP mode) */
		//	SYSCLKConfig_STOP();
		/* Configure the system clock */
		SystemClock_Config();

		/* Configure the peripherals common clocks */
		PeriphCommonClock_Config();
//	}
}

// sleep ms
void stop_mode2_duration(uint32_t ms)
{
	/* Configure the RTC */
	RTC_Config();

	/* Disable Wakeup Counter */
	HAL_RTCEx_DeactivateWakeUpTimer(&RTCHandle);

	/* ## Setting the Wake up time ############################################*/
	/*  RTC Wakeup Interrupt Generation:
	  Wakeup Time Base = (RTC_WAKEUPCLOCK_RTCCLK_DIV /(LSE or LSI))
	  Wakeup Time = Wakeup Time Base * WakeUpCounter
	  = (RTC_WAKEUPCLOCK_RTCCLK_DIV /(LSE or LSI)) * WakeUpCounter
		==> WakeUpCounter = Wakeup Time / Wakeup Time Base

	  To configure the wake up timer to 20s the WakeUpCounter is set to 0x9C40:
	  RTC_WAKEUPCLOCK_RTCCLK_DIV = RTCCLK_Div16 = 16
	  Wakeup Time Base = 16 /(32.000KHz) = 0,5 ms
	  Wakeup Time = 20s = 0,5ms  * WakeUpCounter
	==> WakeUpCounter = 20s/0,5ms = 40000 = 0x9C40 */
	// 5s
	uint32_t counts = ms * (0x2710 / 5000);
//	HAL_RTCEx_SetWakeUpTimer_IT(&RTCHandle, 0x2710, RTC_WAKEUPCLOCK_RTCCLK_DIV16);
	HAL_RTCEx_SetWakeUpTimer_IT(&RTCHandle, counts, RTC_WAKEUPCLOCK_RTCCLK_DIV16);

	/* Enter Stop Mode */
	HAL_PWR_EnterSTOPMode(PWR_LOWPOWERREGULATOR_ON, PWR_STOPENTRY_WFI);
	/* Configures system clock after wake-up from STOP: enable HSE, PLL and select
		PLL as system clock source (HSE and PLL are disabled in STOP mode) */
	//	SYSCLKConfig_STOP();
	/* Configure the system clock */
	SystemClock_Config();

	/* Configure the peripherals common clocks */
	PeriphCommonClock_Config();
}

//void HAL_TIM_PeriodElapsedCallback(TIM_HandleTypeDef *htim)
//{
//	HAL_GPIO_TogglePin(GPIOC, GPIO_PIN_0);
//	HAL_GPIO_WritePin(GPIOC, GPIO_PIN_0, GPIO_PIN_RESET);
//	HAL_Delay(10);
//	HAL_GPIO_WritePin(GPIOC, GPIO_PIN_0, GPIO_PIN_SET);
//	adc_read();

//	adc_ref_internal_read();
//}
/* USER CODE END 4 */

void Error_Handler(void)
{
  __disable_irq();
  while (1)
  {
  }
}
